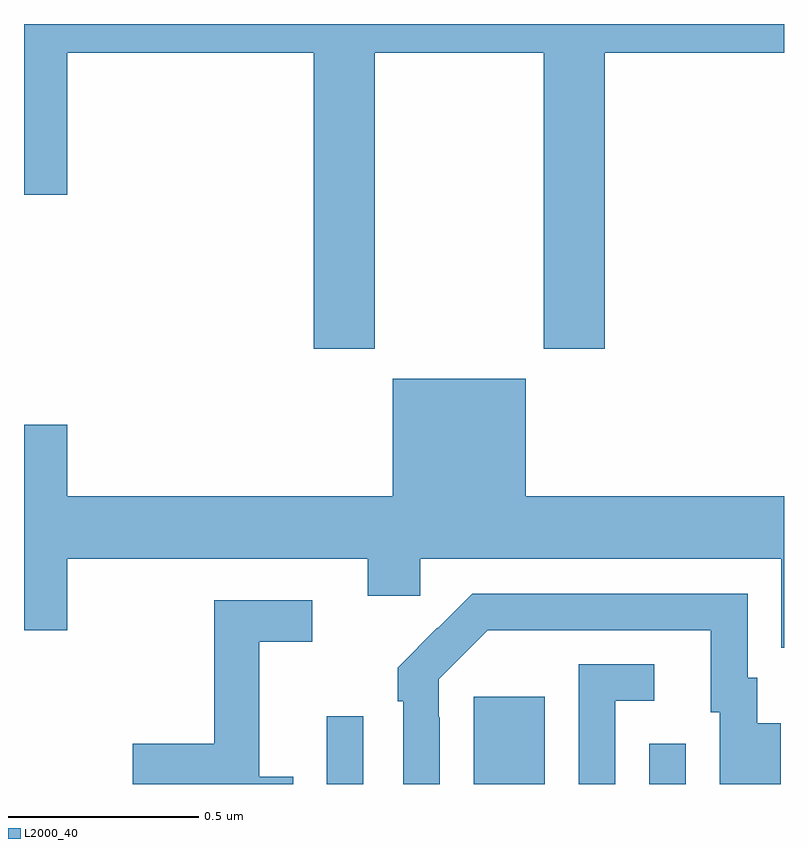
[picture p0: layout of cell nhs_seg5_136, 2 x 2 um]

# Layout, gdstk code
import gdstk
lib = gdstk.Library(unit=1e-6, precision=1e-09)
def R(c, l, rs):  # rectangles x0, y0, x1, y1
    for r in rs: c.add(gdstk.rectangle(r[:2], r[2:], *l))
def P(c, l, *ps):  # polygons
    for p in ps: c.add(gdstk.Polygon(p, *l))
L2000_40 = (2000, 40)

nhs_seg5_136 = lib.new_cell('nhs_seg5_136')
R(nhs_seg5_136, L2000_40, [(112.797,890.799,112.893,890.977), (113.183,890.799,113.371,891.028), (113.646,890.799,113.742,890.905)])
P(nhs_seg5_136, L2000_40, [(112.923,892.724),(113.368,892.724),(113.368,891.945),(113.528,891.945),(113.528,892.724),(114,892.724),(114,892.799),(112,892.799),(112,892.35),(112.114,892.35),(112.114,892.724),(112.763,892.724),(112.763,891.945),(112.923,891.945)],
  [(114,891.556),(113.32,891.556),(113.32,891.865),(112.97,891.865),(112.97,891.556),(112.114,891.556),(112.114,891.745),(112,891.745),(112,891.204),(112.114,891.204),(112.114,891.392),(112.904,891.392),(112.904,891.294),(113.043,891.294),(113.043,891.392),(113.993,891.392),(113.993,891.157),(114,891.157)],
  [(113.094,890.975),(113.091,890.975),(113.091,891.075),(113.22,891.204),(113.807,891.204),(113.807,890.988),(113.831,890.988),(113.831,890.799),(113.992,890.799),(113.992,890.959),(113.929,890.959),(113.929,891.078),(113.904,891.078),(113.904,891.3),(113.18,891.3),(113.089,891.209),(113.088,891.21),(112.983,891.105),(112.983,891.017),(112.998,891.017),(112.998,890.799),(113.094,890.799)],
  [(112.708,890.818),(112.619,890.818),(112.619,891.174),(112.759,891.174),(112.759,891.282),(112.501,891.282),(112.501,890.905),(112.286,890.905),(112.286,890.799),(112.708,890.799)],
  [(113.556,891.018),(113.659,891.018),(113.659,891.114),(113.46,891.114),(113.46,890.799),(113.556,890.799)])

lib.write_gds('nhs_seg5_136.gds')
